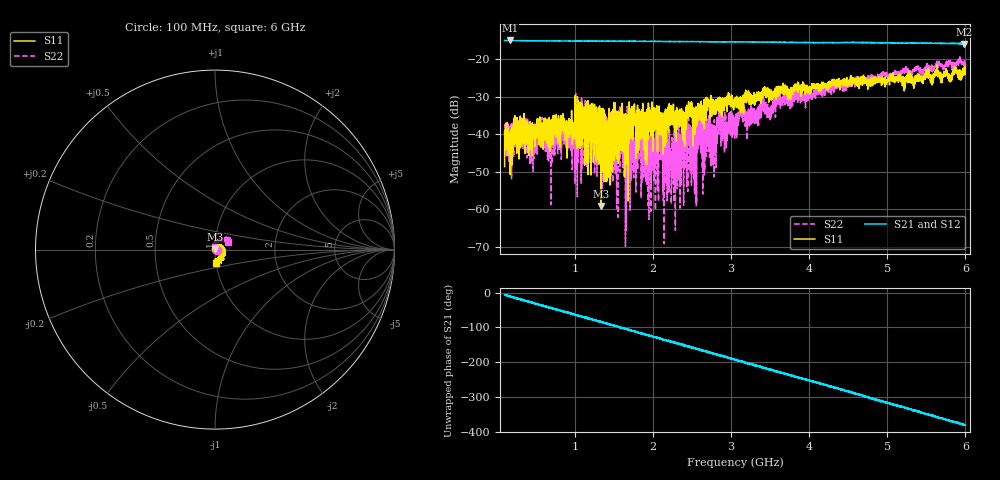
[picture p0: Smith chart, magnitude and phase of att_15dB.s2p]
#  HZ  S  DB  R  50.0
! Rohde & Schwarz ZVL6 2Ports - Version 3.32 - 1303.6509k06 SN: 102097
! Date: 2024-06-28 18:26:12
! Data & Calibration Information:
! Trc1:S11(TOSM) Trc3:S21(TOSM) Trc2:S12(TOSM) Trc4:S22(TOSM)
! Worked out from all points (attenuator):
!   4001 points, 100 MHz to 6 GHz, reference 50 ohm
!   highest |S21| = -15.03 dB at 167.8 MHz (marker M1); lowest = -16.0 dB at 5.982 GHz (marker M2)
!   lowest |S11| = -59.1 dB at 1.333 GHz (marker M3), VSWR 1.00, Z = 50.1 + j0.0814 ohm
!   |S11| at or under -10 dB: start of sweep to end of sweep
!   |S22| runs from -69.8 to -19.4 dB; largest |S21 - S12| = 0.014
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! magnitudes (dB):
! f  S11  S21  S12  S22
! 100 MHz  -48.6  -15.1  -15.0  -40.5
! 167.8 MHz  -43.9  -15.0  -15.1  -39.7
! 241.6 MHz  -35.6  -15.1  -15.1  -38.6
! 1.084 GHz  -34.4  -15.2  -15.2  -43.3
! 1.333 GHz  -59.1  -15.2  -15.2  -40.5
! 1.506 GHz  -42.5  -15.2  -15.2  -49.6
! 1.581 GHz  -37.0  -15.3  -15.3  -35.4
! 1.658 GHz  -39.1  -15.3  -15.3  -65.6
! 1.733 GHz  -36.7  -15.2  -15.2  -45.4
! 1.827 GHz  -38.5  -15.3  -15.3  -36.2
! 1.944 GHz  -36.4  -15.3  -15.3  -44.6
! 2.068 GHz  -35.1  -15.3  -15.3  -42.3
! 2.228 GHz  -32.5  -15.3  -15.3  -46.8
! 2.503 GHz  -35.6  -15.3  -15.4  -40.1
! 2.588 GHz  -32.0  -15.4  -15.4  -37.6
! 2.774 GHz  -32.3  -15.4  -15.4  -43.8
! 2.855 GHz  -32.9  -15.4  -15.4  -35.9
! 3.05 GHz  -30.6  -15.4  -15.4  -37.4
! 4.034 GHz  -28.0  -15.6  -15.5  -30.4
! 5.018 GHz  -24.9  -15.7  -15.7  -24.5
! 5.982 GHz  -22.5  -16.0  -15.8  -21.2
! 6 GHz  -22.6  -15.9  -15.8  -21.6
